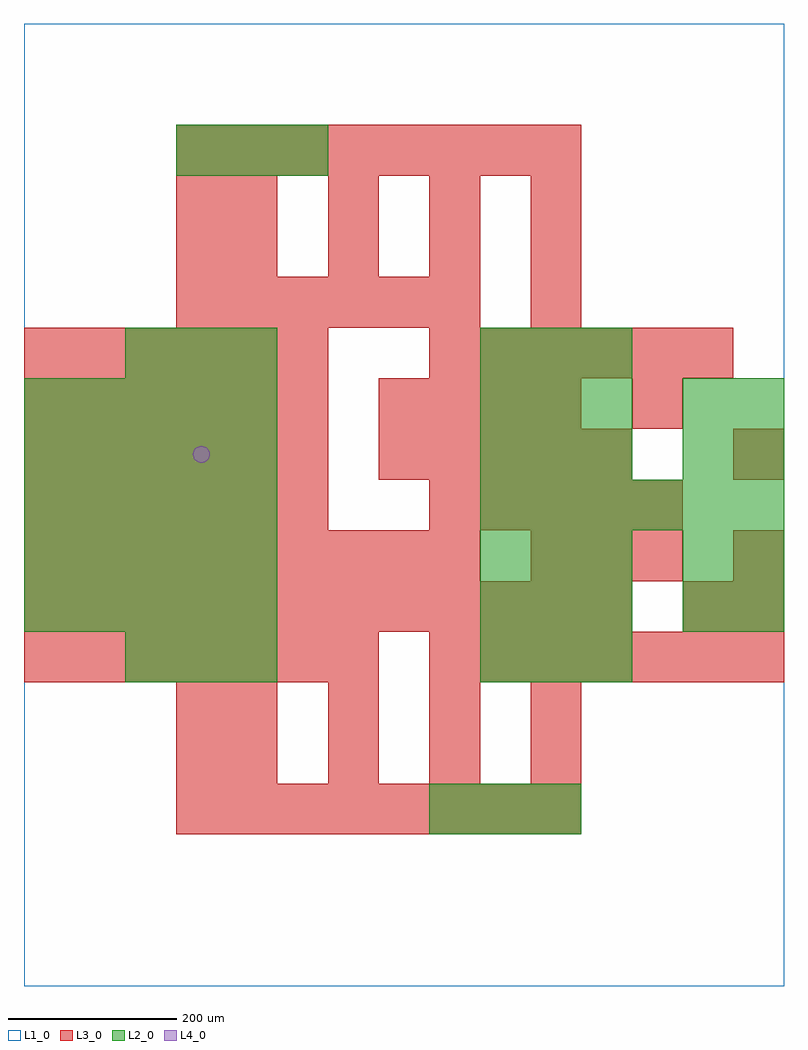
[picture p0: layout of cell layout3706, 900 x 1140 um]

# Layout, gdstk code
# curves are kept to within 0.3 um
import gdstk
lib = gdstk.Library(unit=1e-6, precision=1e-09)
def R(c, l, rs):  # rectangles x0, y0, x1, y1
    for r in rs: c.add(gdstk.rectangle(r[:2], r[2:], *l))
def A(c, l, x, y, w, h, nx, ny, dx, dy):  # array of equal rectangles
    R(c, l, [(x+i*dx, y+j*dy, x+i*dx+w, y+j*dy+h) for i in range(nx) for j in range(ny)])
def P(c, l, *ps):  # polygons
    for p in ps: c.add(gdstk.Polygon(p, *l))
L1_0 = (1, 0)
L2_0 = (2, 0)
L3_0 = (3, 0)
L4_0 = (4, 0)

layout3706 = lib.new_cell('layout3706')
R(layout3706, L1_0, [(0,0,900,1140)])
A(layout3706, L2_0, 480, 180, 60, 60, 3, 1, 60, 0)
A(layout3706, L2_0, 120, 360, 60, 60, 3, 2, 60, 360)
A(layout3706, L2_0, 540, 360, 60, 60, 3, 3, 60, 60)
A(layout3706, L2_0, 0, 420, 60, 60, 5, 5, 60, 60)
A(layout3706, L2_0, 540, 540, 60, 60, 6, 1, 60, 0)
A(layout3706, L2_0, 540, 600, 60, 60, 3, 3, 60, 60)
A(layout3706, L2_0, 180, 960, 60, 60, 3, 1, 60, 0)
R(layout3706, L2_0, [(780,420,840,480), (840,420,900,480), (780,480,840,540), (840,480,900,540), (780,600,840,660), (840,600,900,660), (780,660,840,720), (840,660,900,720)])
A(layout3706, L3_0, 180, 180, 60, 60, 8, 2, 60, 780)
A(layout3706, L3_0, 240, 240, 60, 60, 4, 2, 120, 60)
A(layout3706, L3_0, 0, 360, 60, 60, 7, 1, 60, 0)
A(layout3706, L3_0, 480, 360, 60, 60, 7, 1, 60, 0)
A(layout3706, L3_0, 0, 420, 60, 60, 12, 1, 60, 0)
A(layout3706, L3_0, 0, 480, 60, 60, 9, 1, 60, 0)
A(layout3706, L3_0, 600, 480, 60, 60, 3, 1, 60, 0)
A(layout3706, L3_0, 0, 540, 60, 60, 6, 4, 60, 60)
A(layout3706, L3_0, 480, 540, 60, 60, 5, 1, 60, 0)
A(layout3706, L3_0, 420, 600, 60, 60, 5, 1, 60, 0)
A(layout3706, L3_0, 420, 660, 60, 60, 4, 1, 60, 0)
A(layout3706, L3_0, 480, 720, 60, 60, 6, 1, 60, 0)
A(layout3706, L3_0, 180, 780, 60, 60, 6, 1, 60, 0)
A(layout3706, L3_0, 240, 840, 60, 60, 4, 2, 120, 60)
R(layout3706, L3_0, [(180,240,240,300), (180,300,240,360), (780,420,840,480), (840,420,900,480), (840,480,900,540), (840,600,900,660), (720,660,780,720), (600,780,660,840), (180,840,240,900), (180,900,240,960)])
P(layout3706, L4_0, [(220,630),(219.239,633.827),(217.071,637.071),(213.827,639.239),(210,640),(206.173,639.239),(202.929,637.071),(200.761,633.827),(200,630),(200.761,626.173),(202.929,622.929),(206.173,620.761),(210,620),(213.827,620.761),(217.071,622.929),(219.239,626.173)])

lib.write_gds('layout3706.gds')
